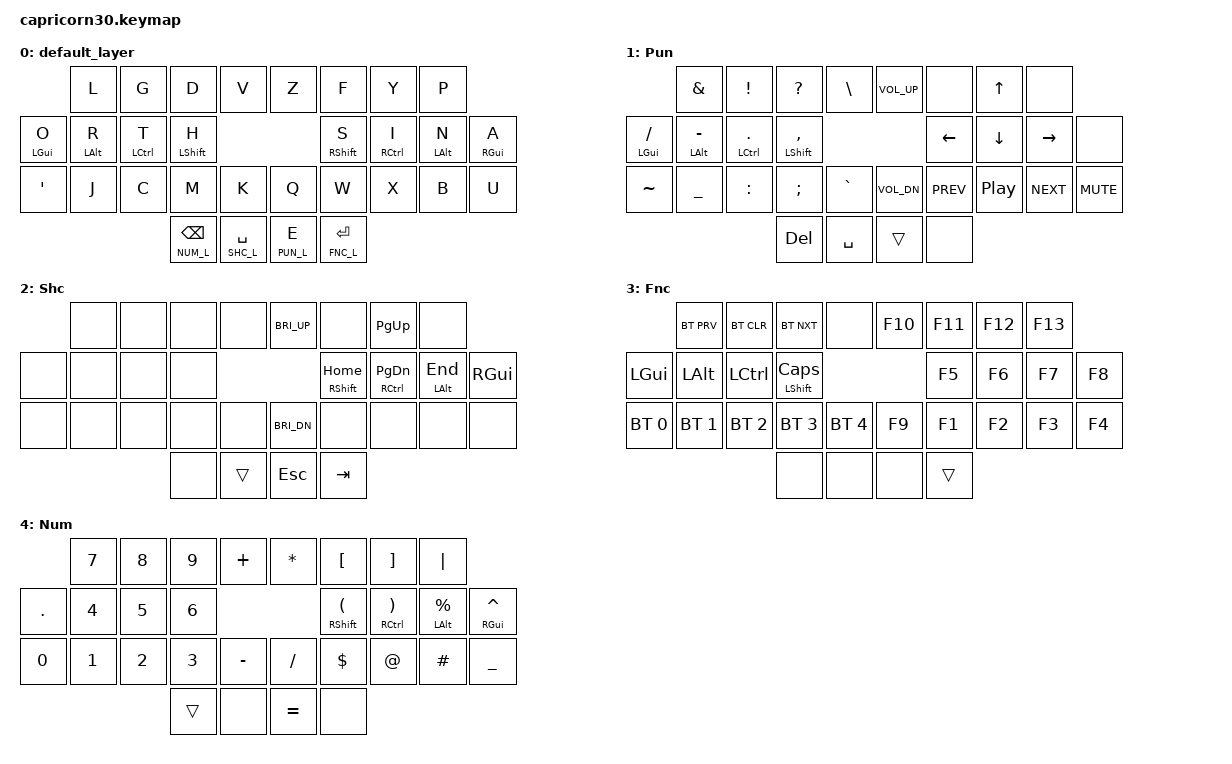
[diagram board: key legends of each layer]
/*
 * Copyright (c) 2022 The ZMK Contributors
 *
 * SPDX-License-Identifier: MIT
 */

#include <behaviors.dtsi>
#include <dt-bindings/zmk/keys.h>

#define DEF_L 0
#define PUN_L 1
#define SHC_L 2
#define FNC_L 3
#define NUM_L 4

// Using layer taps on thumbs, having quick tap as well helps w/ repeating space/backspace
&lt { quick_tap_ms = <200>; };

/ {
    behaviors {
        hm: homerow_mods {
            compatible = "zmk,behavior-hold-tap";
            label = "homerow mods";
            #binding-cells = <2>;
            tapping_term_ms = <250>;
            flavor = "tap-preferred";
            bindings = <&kp>, <&kp>;
        };
    };

    combos {
        compatible = "zmk,combos";
        combo_z {
            timeout-ms = <50>;
            key-positions = <20 21>;
            bindings = <&kp Z>;
        };
        combo_b {
            timeout-ms = <50>;
            key-positions = <21 22>;
            bindings = <&kp B>;
        };
    };

    keymap {
        compatible = "zmk,keymap";

        default_layer {
            bindings = <
                            &kp L       &kp G        &kp D           &kp V            &kp Z        &kp F          &kp Y        &kp P
                &hm LGUI O  &hm LALT R  &hm LCTRL T  &hm LSHFT H                                   &hm RSHFT S    &hm RCTRL I  &hm LALT N  &hm RGUI A
                &kp QUOT    &kp J       &kp C        &kp M           &kp K            &kp Q        &kp W          &kp X        &kp B       &kp U
                                                     &lt NUM_L BKSP  &lt SHC_L SPACE  &lt PUN_L E  &lt FNC_L RET
            >;
        };

        pun_layer {
            label = "Pun";
            bindings = <
                               &kp AMPS        &kp EXCL       &kp QMARK        &kp BSLH   &kp C_VOL_UP  &none       &kp UP    &none
                &hm LGUI FSLH  &hm LALT MINUS  &hm LCTRL DOT  &hm LSHFT COMMA                           &kp LEFT    &kp DOWN  &kp RIGHT   &none
                &kp TILDE      &kp UNDER       &kp COLON      &kp SEMI         &kp GRAVE  &kp C_VOL_DN  &kp C_PREV  &kp C_PP  &kp C_NEXT  &kp C_MUTE
                                                              &kp DEL          &kp SPACE  &trans        &none
            >;
        };

        shc_layer {
            label = "Shc";
            bindings = <
                       &none  &none  &none  &none   &kp C_BRI_UP  &none           &kp PG_UP        &none
                &none  &none  &none  &none                        &hm RSHFT HOME  &hm RCTRL PG_DN  &hm LALT END  &kp RGUI
                &none  &none  &none  &none  &none   &kp C_BRI_DN  &none           &none            &none         &none
                                     &none  &trans  &kp ESC       &kp TAB
            >;
        };

        fnc_layer {
            label = "Fnc";
            bindings = <
                              &bt BT_PRV    &bt BT_CLR    &bt BT_NXT      &none         &kp F10  &kp F11  &kp F12  &kp F13
                &kp LGUI      &kp LALT      &kp LCTRL     &hm LSHFT CAPS                         &kp F5   &kp F6   &kp F7   &kp F8
                &bt BT_SEL 0  &bt BT_SEL 1  &bt BT_SEL 2  &bt BT_SEL 3    &bt BT_SEL 4  &kp F9   &kp F1   &kp F2   &kp F3   &kp F4
                                                          &none           &none         &none    &trans
            >;
        };

        num_layer {
            label = "Num";
            bindings = <
                         &kp N7  &kp N8  &kp N9  &kp PLUS   &kp ASTRK  &kp LBKT        &kp RBKT        &kp PIPE
                &kp DOT  &kp N4  &kp N5  &kp N6                        &hm RSHFT LPAR  &hm RCTRL RPAR  &hm LALT PRCNT  &hm RGUI CARET
                &kp N0   &kp N1  &kp N2  &kp N3  &kp MINUS  &kp FSLH   &kp DLLR        &kp AT          &kp HASH        &kp UNDER
                                         &trans  &none      &kp EQUAL  &none
            >;
        };
    };
};
